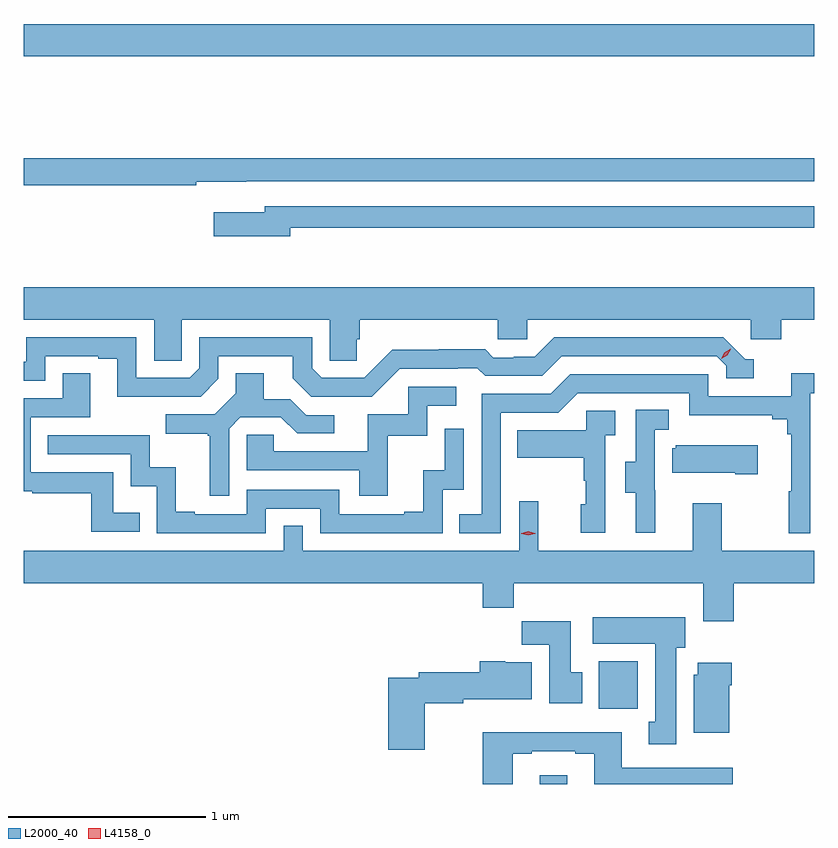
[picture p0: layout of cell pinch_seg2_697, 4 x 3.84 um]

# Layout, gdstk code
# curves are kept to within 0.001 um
import gdstk
lib = gdstk.Library(unit=1e-6, precision=1e-09)
def R(c, l, rs):  # rectangles x0, y0, x1, y1
    for r in rs: c.add(gdstk.rectangle(r[:2], r[2:], *l))
def P(c, l, *ps):  # polygons
    for p in ps: c.add(gdstk.Polygon(p, *l))
L2000_40 = (2000, 40)
L4158_0 = (4158, 0)

pinch_seg2_697 = lib.new_cell('pinch_seg2_697')
R(pinch_seg2_697, L2000_40, [(1121.363,586.68,1121.503,586.723), (1121.663,587.06,1121.86,587.302), (1118.753,590.36,1122.753,590.524)])
P(pinch_seg2_697, L2000_40, [(1119.626,589.727),(1119.878,589.727),(1119.878,589.728),(1122.753,589.728),(1122.753,589.844),(1118.753,589.844),(1118.753,589.708),(1119.626,589.708)],
  [(1120.102,589.494),(1122.753,589.494),(1122.753,589.602),(1119.974,589.602),(1119.974,589.573),(1119.714,589.573),(1119.714,589.451),(1120.102,589.451)],
  [(1119.552,589.028),(1120.302,589.028),(1120.302,588.82),(1120.439,588.82),(1120.439,588.93),(1120.454,588.93),(1120.454,589.028),(1121.151,589.028),(1121.151,588.93),(1121.301,588.93),(1121.301,589.028),(1122.432,589.028),(1122.432,588.93),(1122.584,588.93),(1122.584,589.028),(1122.753,589.028),(1122.753,589.192),(1118.753,589.192),(1118.753,589.028),(1119.413,589.028),(1119.413,588.82),(1119.552,588.82)],
  [(1119.432,588.639),(1119.648,588.639),(1119.738,588.729),(1119.738,588.843),(1120.115,588.843),(1120.115,588.733),(1120.209,588.639),(1120.515,588.639),(1120.656,588.78),(1120.949,588.78),(1120.949,588.783),(1121.048,588.783),(1121.087,588.744),(1121.376,588.744),(1121.475,588.843),(1122.258,588.843),(1122.306,588.795),(1122.306,588.732),(1122.445,588.732),(1122.445,588.828),(1122.402,588.828),(1122.291,588.939),(1121.438,588.939),(1121.339,588.84),(1121.232,588.84),(1121.232,588.837),(1121.129,588.837),(1121.087,588.88),(1120.854,588.88),(1120.854,588.877),(1120.618,588.877),(1120.476,588.735),(1120.26,588.735),(1120.212,588.783),(1120.212,588.939),(1119.642,588.939),(1119.642,588.783),(1119.594,588.735),(1119.324,588.735),(1119.324,588.939),(1118.766,588.939),(1118.766,588.816),(1118.753,588.816),(1118.753,588.72),(1118.862,588.72),(1118.862,588.843),(1119.131,588.843),(1119.131,588.831),(1119.227,588.831),(1119.227,588.638)],
  [(1121.166,588.558),(1121.457,588.558),(1121.556,588.657),(1122.12,588.657),(1122.12,588.545),(1122.539,588.545),(1122.539,588.526),(1122.616,588.526),(1122.616,588.449),(1122.635,588.449),(1122.635,588.161),(1122.624,588.161),(1122.624,587.949),(1122.732,587.949),(1122.732,588.656),(1122.753,588.656),(1122.753,588.758),(1122.635,588.758),(1122.635,588.642),(1122.216,588.642),(1122.216,588.753),(1121.519,588.753),(1121.42,588.654),(1121.07,588.654),(1121.07,588.045),(1120.957,588.045),(1120.957,587.949),(1121.166,587.949)],
  [(1119.341,588.052),(1119.207,588.052),(1119.207,588.258),(1118.79,588.258),(1118.79,588.534),(1119.091,588.534),(1119.091,588.758),(1118.951,588.758),(1118.951,588.63),(1118.753,588.63),(1118.753,588.161),(1118.797,588.161),(1118.797,588.15),(1119.096,588.15),(1119.096,587.955),(1119.341,587.955)],
  [(1119.792,588.477),(1119.849,588.534),(1120.055,588.534),(1120.136,588.453),(1120.324,588.453),(1120.324,588.546),(1120.182,588.546),(1120.102,588.626),(1119.967,588.626),(1119.967,588.758),(1119.827,588.758),(1119.827,588.656),(1119.72,588.549),(1119.471,588.549),(1119.471,588.452),(1119.684,588.452),(1119.684,588.441),(1119.695,588.441),(1119.695,588.138),(1119.792,588.138)],
  [(1120.595,588.441),(1120.794,588.441),(1120.794,588.594),(1120.942,588.594),(1120.942,588.69),(1120.698,588.69),(1120.698,588.549),(1120.493,588.549),(1120.493,588.363),(1120.019,588.363),(1120.019,588.447),(1119.882,588.447),(1119.882,588.267),(1120.451,588.267),(1120.451,588.138),(1120.595,588.138)],
  [(1121.948,588.165),(1121.946,588.165),(1121.946,588.471),(1122.016,588.471),(1122.016,588.572),(1121.85,588.572),(1121.85,588.309),(1121.795,588.309),(1121.795,588.154),(1121.849,588.154),(1121.849,587.952),(1121.948,587.952)],
  [(1121.694,588.443),(1121.746,588.443),(1121.746,588.567),(1121.598,588.567),(1121.598,588.469),(1121.251,588.469),(1121.251,588.329),(1121.586,588.329),(1121.586,588.215),(1121.596,588.215),(1121.596,588.096),(1121.57,588.096),(1121.57,587.952),(1121.694,587.952)],
  [(1119.978,588.072),(1120.254,588.072),(1120.254,587.949),(1120.872,587.949),(1120.872,588.168),(1120.98,588.168),(1120.98,588.478),(1120.884,588.478),(1120.884,588.266),(1120.775,588.266),(1120.775,588.058),(1120.679,588.058),(1120.679,588.045),(1120.35,588.045),(1120.35,588.168),(1119.882,588.168),(1119.882,588.045),(1119.619,588.045),(1119.619,588.058),(1119.523,588.058),(1119.523,588.283),(1119.39,588.283),(1119.39,588.444),(1118.875,588.444),(1118.875,588.348),(1119.294,588.348),(1119.294,588.185),(1119.426,588.185),(1119.426,587.949),(1119.978,587.949)],
  [(1122.466,588.394),(1122.151,588.394),(1122.151,588.393),(1122.051,588.393),(1122.051,588.378),(1122.035,588.378),(1122.035,588.254),(1122.353,588.254),(1122.353,588.247),(1122.466,588.247)],
  [(1121.259,588.109),(1121.259,587.86),(1120.164,587.86),(1120.164,587.987),(1120.068,587.987),(1120.068,587.86),(1118.753,587.86),(1118.753,587.696),(1121.075,587.696),(1121.075,587.572),(1121.231,587.572),(1121.231,587.696),(1122.191,587.696),(1122.191,587.502),(1122.344,587.502),(1122.344,587.696),(1122.753,587.696),(1122.753,587.86),(1122.285,587.86),(1122.285,588.1),(1122.137,588.1),(1122.137,587.86),(1121.357,587.86),(1121.357,588.109)],
  [(1122.055,587.37),(1122.1,587.37),(1122.1,587.524),(1121.631,587.524),(1121.631,587.39),(1121.948,587.39),(1121.948,586.994),(1121.915,586.994),(1121.915,586.881),(1122.055,586.881)],
  [(1121.578,587.244),(1121.521,587.244),(1121.521,587.503),(1121.272,587.503),(1121.272,587.384),(1121.411,587.384),(1121.411,587.088),(1121.578,587.088)],
  [(1120.781,587.089),(1120.976,587.089),(1120.976,587.108),(1121.323,587.108),(1121.323,587.296),(1121.19,587.296),(1121.19,587.302),(1121.06,587.302),(1121.06,587.244),(1120.751,587.244),(1120.751,587.218),(1120.598,587.218),(1120.598,586.854),(1120.781,586.854)],
  [(1122.322,587.18),(1122.335,587.18),(1122.335,587.293),(1122.164,587.293),(1122.164,587.232),(1122.143,587.232),(1122.143,586.94),(1122.322,586.94)],
  [(1121.227,586.833),(1121.323,586.833),(1121.323,586.845),(1121.543,586.845),(1121.543,586.833),(1121.639,586.833),(1121.639,586.68),(1122.34,586.68),(1122.34,586.761),(1121.779,586.761),(1121.779,586.942),(1121.075,586.942),(1121.075,586.68),(1121.227,586.68)])
P(pinch_seg2_697, L4158_0, [(1121.306,587.938),(1121.27,587.947),(1121.27,587.948),(1121.27,587.948),(1121.306,587.958),(1121.341,587.948),(1121.341,587.948),(1121.341,587.947)],
  [(1122.281,588.83),(1122.281,588.83),(1122.298,588.862),(1122.329,588.881),(1122.33,588.881),(1122.33,588.88),(1122.313,588.848),(1122.281,588.83)])

lib.write_gds('pinch_seg2_697.gds')
